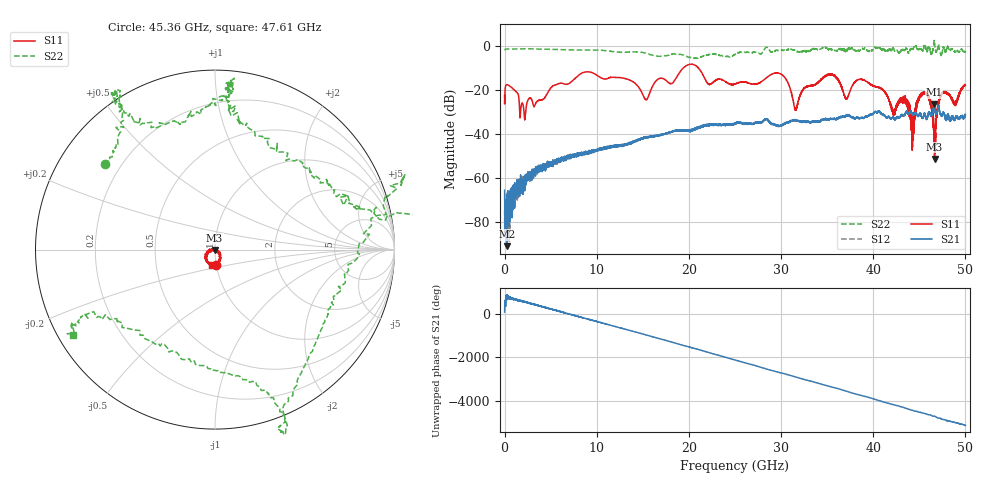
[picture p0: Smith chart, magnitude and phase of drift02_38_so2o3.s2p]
!Created with skrf (http://scikit-rf.org).
# Hz S RI R 50.0
!freq ReS11 ImS11 ReS21 ImS21 ReS12 ImS12 ReS22 ImS22
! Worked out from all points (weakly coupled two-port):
!   10001 points, 300 kHz to 50 GHz, reference 50 ohm
!   highest |S21| = -26.60 dB at 46.59 GHz (marker M1); lowest = -91.0 dB at 270.3 MHz (marker M2)
!   lowest |S11| = -51.3 dB at 46.66 GHz (marker M3), VSWR 1.01, Z = 49.8 - j0.142 ohm
!   |S11| at or under -10 dB: start of sweep to 19.42 GHz; 21.01 GHz to end of sweep
!   |S22| runs from -5.7 to 2.4 dB; largest |S21 - S12| = 0.0033
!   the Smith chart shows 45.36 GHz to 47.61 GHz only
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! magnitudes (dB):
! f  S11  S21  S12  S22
! 300 kHz  -22.6  -65.6  -74.7  -2.1
! 270.3 MHz  -17.6  -91.0  -74.0  -1.4
! 2.18 GHz  -33.5  -65.9  -62.9  -1.3
! 8.335 GHz  -12.5  -48.9  -49.1  -1.9
! 15.34 GHz  -24.5  -41.5  -41.6  -3.3
! 16.67 GHz  -15.1  -40.8  -40.7  -4.7
! 20.29 GHz  -8.4  -38.3  -38.3  -5.5
! 25 GHz  -17.4  -35.1  -35.4  -3.9
! 29.84 GHz  -12.6  -36.4  -36.5  -2.0
! 31.59 GHz  -29.1  -33.8  -34.0  -2.4
! 33.34 GHz  -18.0  -34.8  -34.4  -1.6
! 35.61 GHz  -13.0  -33.2  -33.2  -1.6
! 37.1 GHz  -24.1  -31.7  -31.6  -2.5
! 38.76 GHz  -15.3  -32.6  -32.6  -1.0
! 41.67 GHz  -24.2  -32.4  -32.3  -1.8
! 43.45 GHz  -24.5  -31.1  -31.0  -1.8
! 44.27 GHz  -42.4  -31.2  -31.3  -1.4
! 45.7 GHz  -21.4  -32.5  -32.4  -0.8
! 46.59 GHz  -39.8  -26.6  -27.2  1.9
! 46.66 GHz  -51.3  -28.4  -28.2  1.1
! 47.47 GHz  -21.9  -31.5  -31.6  -3.5
! 50 GHz  -17.9  -31.7  -31.5  -2.6
